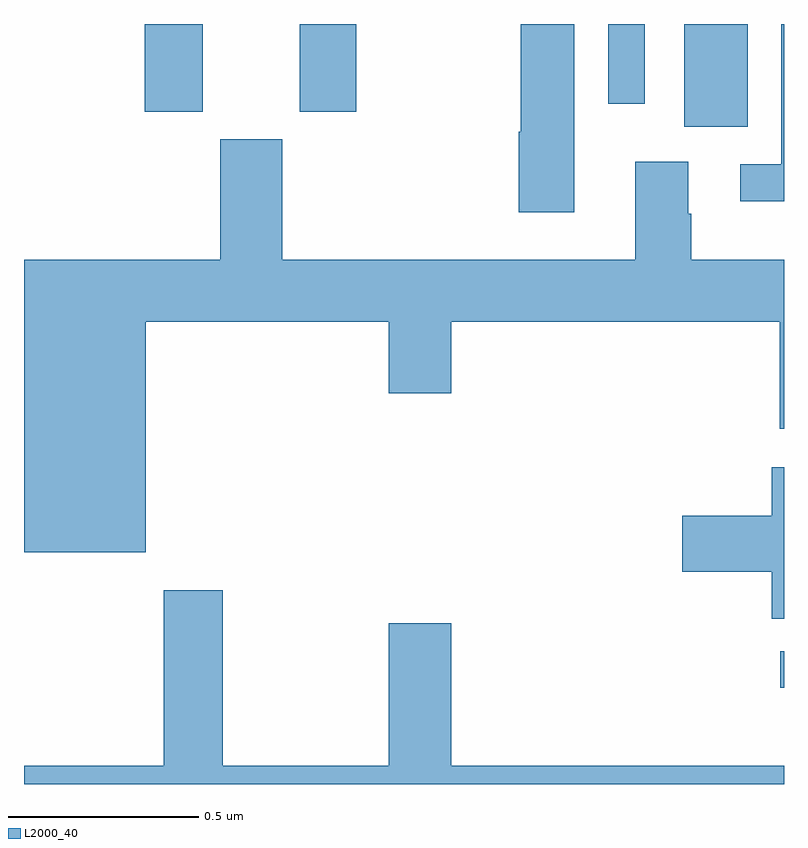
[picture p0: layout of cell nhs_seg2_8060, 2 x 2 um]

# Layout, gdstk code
import gdstk
lib = gdstk.Library(unit=1e-6, precision=1e-09)
def R(c, l, rs):  # rectangles x0, y0, x1, y1
    for r in rs: c.add(gdstk.rectangle(r[:2], r[2:], *l))
def P(c, l, *ps):  # polygons
    for p in ps: c.add(gdstk.Polygon(p, *l))
L2000_40 = (2000, 40)

nhs_seg2_8060 = lib.new_cell('nhs_seg2_8060')
R(nhs_seg2_8060, L2000_40, [(213.99,600.053,214,600.15), (213.737,601.53,213.904,601.8), (212.318,601.569,212.47,601.8), (212.726,601.569,212.874,601.8), (213.537,601.59,213.633,601.8)])
P(nhs_seg2_8060, L2000_40, [(214,601.8),(213.993,601.8),(213.993,601.431),(213.885,601.431),(213.885,601.334),(214,601.334)],
  [(213.448,601.8),(213.307,601.8),(213.307,601.517),(213.302,601.517),(213.302,601.305),(213.448,601.305)],
  [(212.32,601.016),(212.96,601.016),(212.96,600.828),(213.124,600.828),(213.124,601.016),(213.989,601.016),(213.989,600.735),(214,600.735),(214,601.18),(213.756,601.18),(213.756,601.301),(213.748,601.301),(213.748,601.438),(213.608,601.438),(213.608,601.18),(212.68,601.18),(212.68,601.497),(212.516,601.497),(212.516,601.18),(212,601.18),(212,600.41),(212.32,600.41)],
  [(214,600.634),(213.968,600.634),(213.968,600.506),(213.732,600.506),(213.732,600.359),(213.968,600.359),(213.968,600.235),(214,600.235)],
  [(214,599.848),(213.124,599.848),(213.124,600.223),(212.96,600.223),(212.96,599.848),(212.523,599.848),(212.523,600.31),(212.368,600.31),(212.368,599.848),(212,599.848),(212,599.8),(214,599.8)])

lib.write_gds('nhs_seg2_8060.gds')
